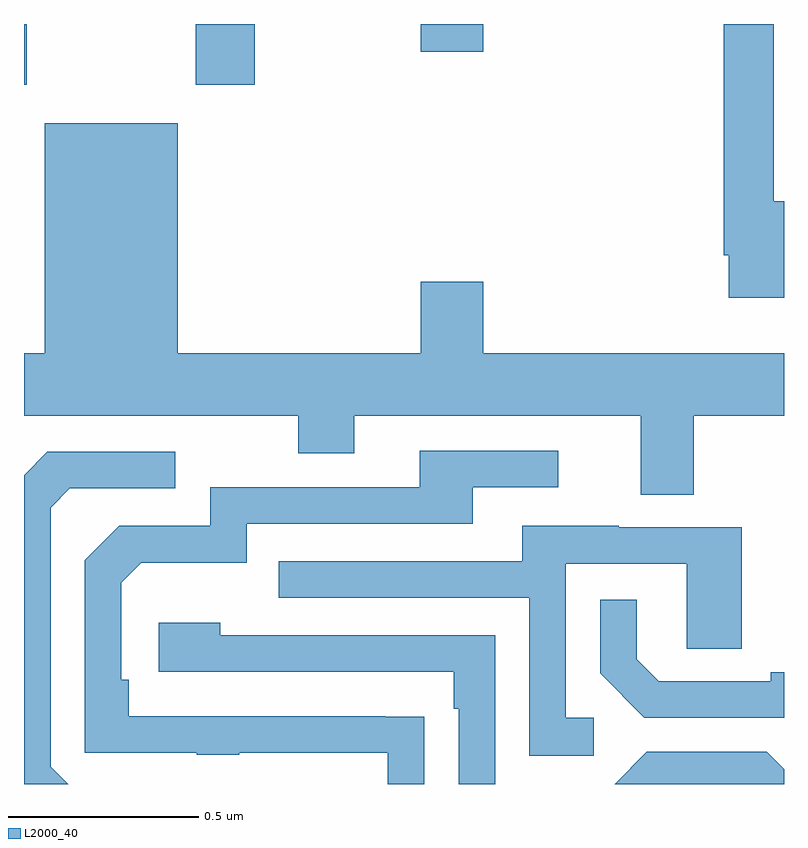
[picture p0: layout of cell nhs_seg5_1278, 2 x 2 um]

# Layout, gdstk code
import gdstk
lib = gdstk.Library(unit=1e-6, precision=1e-09)
def R(c, l, rs):  # rectangles x0, y0, x1, y1
    for r in rs: c.add(gdstk.rectangle(r[:2], r[2:], *l))
def P(c, l, *ps):  # polygons
    for p in ps: c.add(gdstk.Polygon(p, *l))
L2000_40 = (2000, 40)

nhs_seg5_1278 = lib.new_cell('nhs_seg5_1278')
R(nhs_seg5_1278, L2000_40, [(128,849.639,128.007,849.799), (128.452,849.639,128.607,849.799), (129.044,849.726,129.208,849.799)])
P(nhs_seg5_1278, L2000_40, [(130,849.333),(129.973,849.333),(129.973,849.799),(129.842,849.799),(129.842,849.19),(129.854,849.19),(129.854,849.078),(130,849.078)],
  [(129.763,848.768),(130,848.768),(130,848.932),(129.208,848.932),(129.208,849.121),(129.044,849.121),(129.044,848.932),(128.404,848.932),(128.404,849.538),(128.054,849.538),(128.054,848.932),(128,848.932),(128,848.768),(128.722,848.768),(128.722,848.669),(128.869,848.669),(128.869,848.768),(129.623,848.768),(129.623,848.56),(129.763,848.56)],
  [(129.053,847.976),(128.951,847.976),(128.951,847.977),(128.276,847.977),(128.276,848.074),(128.256,848.074),(128.256,848.328),(128.309,848.381),(128.586,848.381),(128.586,848.484),(129.181,848.484),(129.181,848.58),(129.406,848.58),(129.406,848.676),(129.041,848.676),(129.041,848.58),(128.49,848.58),(128.49,848.478),(128.25,848.478),(128.16,848.388),(128.16,847.881),(128.455,847.881),(128.455,847.876),(128.567,847.876),(128.567,847.881),(128.957,847.881),(128.957,847.799),(129.053,847.799)],
  [(128.07,847.845),(128.07,848.526),(128.121,848.577),(128.398,848.577),(128.398,848.673),(128.061,848.673),(128,848.612),(128,847.799),(128.116,847.799)],
  [(129.499,847.974),(129.426,847.974),(129.426,848.379),(129.744,848.379),(129.744,848.155),(129.889,848.155),(129.889,848.475),(129.565,848.475),(129.565,848.479),(129.311,848.479),(129.311,848.385),(128.671,848.385),(128.671,848.289),(129.33,848.289),(129.33,847.873),(129.499,847.873)],
  [(130,848.093),(129.965,848.093),(129.965,848.07),(129.67,848.07),(129.613,848.127),(129.613,848.284),(129.516,848.284),(129.516,848.09),(129.632,847.974),(130,847.974)],
  [(129.24,848.19),(128.516,848.19),(128.516,848.224),(128.355,848.224),(128.355,848.094),(129.131,848.094),(129.131,847.997),(129.144,847.997),(129.144,847.799),(129.24,847.799)],
  [(130,847.838),(129.954,847.884),(129.639,847.884),(129.554,847.799),(130,847.799)])

lib.write_gds('nhs_seg5_1278.gds')
